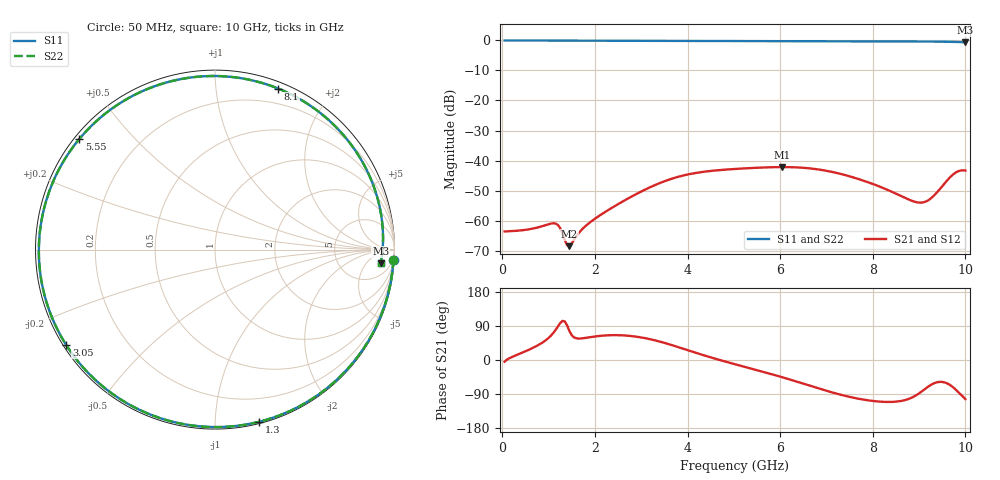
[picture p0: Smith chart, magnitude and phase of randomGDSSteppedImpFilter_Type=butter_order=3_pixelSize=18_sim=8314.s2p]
! freq	dB(S11)	phase(S11)	dB(S12)	phase(S12)
!  dB(S21)	phase(S21)	dB(S22)	phase(S22)
!S-par simulation data
#  GHz  S  DB  R 50
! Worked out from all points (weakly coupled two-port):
!   200 points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, 50 MHz to 10 GHz, reference 50 ohm
!   highest |S21| = -42.17 dB at 6.05 GHz (marker M1); lowest = -68.5 dB at 1.45 GHz (marker M2)
!   lowest |S11| = -0.7 dB at 10 GHz (marker M3), VSWR 26.37, Z = 601 - j656 ohm
!   |S11| at or under -10 dB: nowhere
!   |S22| runs from -0.7 to 0.0 dB; largest |S21 - S12| = 0
!   S11 on the Smith chart (normalised r, x): 50 MHz: 2, -36; 1.3 GHz: 0.01, -1.29; 3.05 GHz: 0.01, -0.29; 5.55 GHz: 0.01, +0.36; 8.1 GHz: 0.06, +1.47; 10 GHz: 12, -13
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0.05  -0.03 -3.2  -63.60 -4.5  -63.60 -4.5  -0.04 -3.2
0.5  -0.05 -30.9  -63.06 23.0  -63.06 23.0  -0.05 -30.9
1.1  -0.08 -65.3  -60.86 71.1  -60.86 71.1  -0.08 -65.3
1.2  -0.08 -70.6  -61.41 88.4  -61.41 88.4  -0.08 -70.6
1.3  -0.08 -75.7  -64.23 103.1  -64.23 103.1  -0.08 -75.7
1.4  -0.09 -80.8  -68.21 91.1  -68.21 91.1  -0.09 -80.8
1.45  -0.09 -83.2  -68.49 76.3  -68.49 76.3  -0.09 -83.2
1.75  -0.10 -97.3  -62.46 57.5  -62.46 57.5  -0.10 -97.3
2.4  -0.12 -124.3  -55.41 65.6  -55.41 65.6  -0.12 -124.3
3.05  -0.13 -147.3  -49.92 58.4  -49.92 58.4  -0.13 -147.3
3.4  -0.14 -158.6  -47.49 48.6  -47.49 48.6  -0.14 -158.6
4.2  -0.16 177.7  -44.07 18.2  -44.07 18.2  -0.16 177.7
5.05  -0.19 154.3  -42.77 -12.0  -42.77 -12.0  -0.19 154.3
5.55  -0.21 140.8  -42.36 -28.3  -42.36 -28.3  -0.21 140.8
6.05  -0.24 127.3  -42.17 -45.6  -42.17 -45.6  -0.24 127.3
6.7  -0.26 109.5  -42.70 -70.2  -42.70 -70.2  -0.26 109.5
7.4  -0.29 89.5  -44.82 -94.5  -44.82 -94.5  -0.29 89.5
8.1  -0.32 68.5  -48.37 -109.3  -48.37 -109.3  -0.32 68.5
8.35  -0.33 60.7  -49.96 -110.8  -49.96 -110.8  -0.33 60.7
9.1  -0.38 35.5  -53.87 -79.1  -53.87 -79.1  -0.38 35.5
9.75  -0.50 9.0  -44.42 -73.6  -44.42 -73.6  -0.50 9.0
10  -0.66 -4.8  -43.32 -103.2  -43.32 -103.2  -0.66 -4.8
